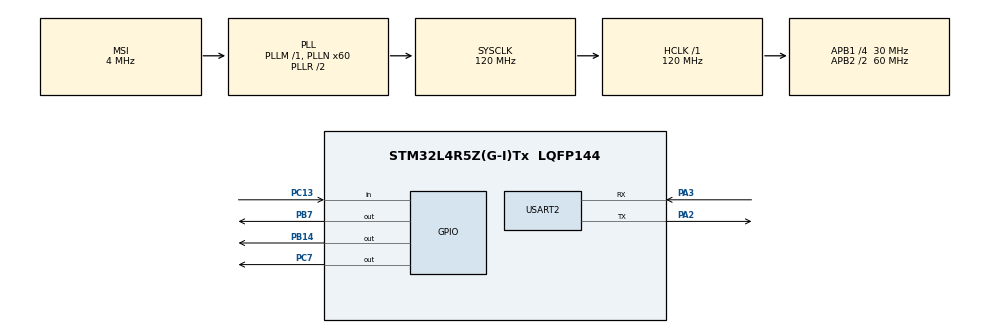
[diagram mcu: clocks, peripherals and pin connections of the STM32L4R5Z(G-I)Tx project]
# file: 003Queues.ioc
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Mcu.Family=STM32L4
Mcu.Name=STM32L4R5Z(G-I)Tx
Mcu.Package=LQFP144
NVIC.PriorityGroup=NVIC_PRIORITYGROUP_4
NVIC.TIM6_DAC_IRQn=true\:15\:0\:false\:false\:true\:false\:true
NVIC.TimeBase=TIM6_DAC_IRQn
NVIC.TimeBaseIP=TIM6
NVIC.USART2_IRQn=true\:0\:0\:false\:false\:true\:true\:true
PA2.Mode=Asynchronous
PA2.Signal=USART2_TX
PA3.Mode=Asynchronous
PA3.Signal=USART2_RX
PB14.Signal=GPIO_Output
PB7.Signal=GPIO_Output
PC13.Signal=GPIO_Input
PC7.Signal=GPIO_Output
ProjectManager.HeapSize=0x200
ProjectManager.StackSize=0x400
ProjectManager.TargetToolchain=STM32CubeIDE
RCC.ADCFreq_Value=16000000
RCC.AHBFreq_Value=120000000
RCC.APB1CLKDivider=RCC_HCLK_DIV4
RCC.APB1Freq_Value=30000000
RCC.APB1TimFreq_Value=60000000
RCC.APB2CLKDivider=RCC_HCLK_DIV2
RCC.APB2Freq_Value=60000000
RCC.APB2TimFreq_Value=120000000
RCC.CortexFreq_Value=120000000
RCC.HCLKFreq_Value=120000000
RCC.HSE_VALUE=8000000
RCC.HSI48_VALUE=48000000
RCC.HSI_VALUE=16000000
RCC.LSE_VALUE=32768
RCC.MSI_VALUE=4000000
RCC.PLLN=60
RCC.SYSCLKFreq_VALUE=120000000
RCC.SYSCLKSource=RCC_SYSCLKSOURCE_PLLCLK
RCC.USBFreq_Value=16000000
RCC.VCOOutputFreq_Value=240000000
USART2.VirtualMode-Asynchronous=VM_ASYNC
VP_RTC_VS_RTC_Activate.Mode=RTC_Enabled
VP_SYS_VS_tim6.Mode=TIM6
board=custom

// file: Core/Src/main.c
/* USER CODE BEGIN Header */
/**
  ******************************************************************************
  * @file           : main.c
  * @brief          : Main program body
  ******************************************************************************
  * @attention
  *
  * Copyright (c) 2022 STMicroelectronics.
  * All rights reserved.
  *
  * This software is licensed under terms that can be found in the LICENSE file
  * in the root directory of this software component.
  * If no LICENSE file comes with this software, it is provided AS-IS.
  *
  ******************************************************************************
  */
/* USER CODE END Header */
#include "main.h"

/* USER CODE BEGIN Includes */
#include <stdio.h>

#include "FreeRTOS.h"
#include "task.h"
#include "SEGGER_SYSVIEW.h"
#include "task_handler.h"

/* USER CODE END Includes */

RTC_HandleTypeDef hrtc;

UART_HandleTypeDef huart2;

/* USER CODE BEGIN PV */
#define DWT_CTRL (*(volatile uint32_t*) 0xE0001000)
/* USER CODE END PV */

void SystemClock_Config(void);
static void MX_GPIO_Init(void);
static void MX_RTC_Init(void);
static void MX_USART2_UART_Init(void);
/* USER CODE BEGIN PFP */

TaskHandle_t handle_led_task;
TaskHandle_t handle_menu_task;
TaskHandle_t handle_cmd_task;
TaskHandle_t handle_print_task;
TaskHandle_t handle_rtc_task;

QueueHandle_t queue_data;
QueueHandle_t queue_print;

volatile uint8_t user_data;
state_t current_state = sMainMenu;

/* USER CODE END PFP */

int main(void)
{
  /* USER CODE BEGIN 1 */

	  BaseType_t status;

  /* USER CODE END 1 */

  /* MCU Configuration--------------------------------------------------------*/

  /* Reset of all peripherals, Initializes the Flash interface and the Systick. */
  HAL_Init();

  /* Configure the system clock */
  SystemClock_Config();

  /* Initialize all configured peripherals */
  MX_GPIO_Init();
  MX_RTC_Init();
  MX_USART2_UART_Init();
  /* USER CODE BEGIN 2 */
  DWT_CTRL |= (1 << 0);

  SEGGER_SYSVIEW_Conf();
  SEGGER_SYSVIEW_Start();
//  SEGGER_UART_Init(500000);

  status = xTaskCreate(task_handler_led, "Task-LED", 200, NULL,
              2, &handle_led_task);
  configASSERT(status == pdPASS);

  status = xTaskCreate(task_handler_menu, "Task-MENU", 200, NULL,
              2, &handle_menu_task);
  configASSERT(status == pdPASS);

  status = xTaskCreate(task_handler_cmd, "Task-CMD", 200, NULL,
              2, &handle_cmd_task);
  configASSERT(status == pdPASS);

  status = xTaskCreate(task_handler_print, "Task-PRINT", 200, NULL,
              2, &handle_print_task);
  configASSERT(status == pdPASS);

  status = xTaskCreate(task_handler_rtc, "Task-RTC", 200, NULL,
              2, &handle_rtc_task);
  configASSERT(status == pdPASS);

	/*
	Create FreeRTOS queues
	*/
	queue_data = xQueueCreate(10, sizeof(char));
	configASSERT(queue_data != NULL);

	queue_print = xQueueCreate(10, sizeof(size_t)); // Will only store pointers to strings
	configASSERT(queue_print != NULL);

	HAL_UART_Receive_IT(&huart2, (uint8_t*)&user_data, 1); // enable receiving UART interrupts

  vTaskStartScheduler();
  /* USER CODE END 2 */

  /* Infinite loop */
  while (1)
  {

  }
}

void SystemClock_Config(void)
{
  RCC_OscInitTypeDef RCC_OscInitStruct = {0};
  RCC_ClkInitTypeDef RCC_ClkInitStruct = {0};

  /** Configure the main internal regulator output voltage
  */
  if (HAL_PWREx_ControlVoltageScaling(PWR_REGULATOR_VOLTAGE_SCALE1_BOOST) != HAL_OK)
  {
    Error_Handler();
  }
  /** Initializes the RCC Oscillators according to the specified parameters
  * in the RCC_OscInitTypeDef structure.
  */
  RCC_OscInitStruct.OscillatorType = RCC_OSCILLATORTYPE_LSI|RCC_OSCILLATORTYPE_MSI;
  RCC_OscInitStruct.LSIState = RCC_LSI_ON;
  RCC_OscInitStruct.MSIState = RCC_MSI_ON;
  RCC_OscInitStruct.MSICalibrationValue = 0;
  RCC_OscInitStruct.MSIClockRange = RCC_MSIRANGE_6;
  RCC_OscInitStruct.PLL.PLLState = RCC_PLL_ON;
  RCC_OscInitStruct.PLL.PLLSource = RCC_PLLSOURCE_MSI;
  RCC_OscInitStruct.PLL.PLLM = 1;
  RCC_OscInitStruct.PLL.PLLN = 60;
  RCC_OscInitStruct.PLL.PLLP = RCC_PLLP_DIV2;
  RCC_OscInitStruct.PLL.PLLQ = RCC_PLLQ_DIV2;
  RCC_OscInitStruct.PLL.PLLR = RCC_PLLR_DIV2;
  if (HAL_RCC_OscConfig(&RCC_OscInitStruct) != HAL_OK)
  {
    Error_Handler();
  }
  /** Initializes the CPU, AHB and APB buses clocks
  */
  RCC_ClkInitStruct.ClockType = RCC_CLOCKTYPE_HCLK|RCC_CLOCKTYPE_SYSCLK
                              |RCC_CLOCKTYPE_PCLK1|RCC_CLOCKTYPE_PCLK2;
  RCC_ClkInitStruct.SYSCLKSource = RCC_SYSCLKSOURCE_PLLCLK;
  RCC_ClkInitStruct.AHBCLKDivider = RCC_SYSCLK_DIV1;
  RCC_ClkInitStruct.APB1CLKDivider = RCC_HCLK_DIV4;
  RCC_ClkInitStruct.APB2CLKDivider = RCC_HCLK_DIV2;

  if (HAL_RCC_ClockConfig(&RCC_ClkInitStruct, FLASH_LATENCY_5) != HAL_OK)
  {
    Error_Handler();
  }
}

static void MX_RTC_Init(void)
{

  /** Initialize RTC Only
  */
  hrtc.Instance = RTC;
  hrtc.Init.HourFormat = RTC_HOURFORMAT_24;
  hrtc.Init.AsynchPrediv = 127;
  hrtc.Init.SynchPrediv = 255;
  hrtc.Init.OutPut = RTC_OUTPUT_DISABLE;
  hrtc.Init.OutPutRemap = RTC_OUTPUT_REMAP_NONE;
  hrtc.Init.OutPutPolarity = RTC_OUTPUT_POLARITY_HIGH;
  hrtc.Init.OutPutType = RTC_OUTPUT_TYPE_OPENDRAIN;
  if (HAL_RTC_Init(&hrtc) != HAL_OK)
  {
    Error_Handler();
  }

}

static void MX_USART2_UART_Init(void)
{

  huart2.Instance = USART2;
  huart2.Init.BaudRate = 115200;
  huart2.Init.WordLength = UART_WORDLENGTH_8B;
  huart2.Init.StopBits = UART_STOPBITS_1;
  huart2.Init.Parity = UART_PARITY_NONE;
  huart2.Init.Mode = UART_MODE_TX_RX;
  huart2.Init.HwFlowCtl = UART_HWCONTROL_NONE;
  huart2.Init.OverSampling = UART_OVERSAMPLING_16;
  huart2.Init.OneBitSampling = UART_ONE_BIT_SAMPLE_DISABLE;
  huart2.Init.ClockPrescaler = UART_PRESCALER_DIV1;
  huart2.AdvancedInit.AdvFeatureInit = UART_ADVFEATURE_NO_INIT;
  if (HAL_UART_Init(&huart2) != HAL_OK)
  {
    Error_Handler();
  }
  if (HAL_UARTEx_SetTxFifoThreshold(&huart2, UART_TXFIFO_THRESHOLD_1_8) != HAL_OK)
  {
    Error_Handler();
  }
  if (HAL_UARTEx_SetRxFifoThreshold(&huart2, UART_RXFIFO_THRESHOLD_1_8) != HAL_OK)
  {
    Error_Handler();
  }
  if (HAL_UARTEx_DisableFifoMode(&huart2) != HAL_OK)
  {
    Error_Handler();
  }

}

static void MX_GPIO_Init(void)
{
  GPIO_InitTypeDef GPIO_InitStruct = {0};

  /* GPIO Ports Clock Enable */
  __HAL_RCC_GPIOC_CLK_ENABLE();
  __HAL_RCC_GPIOA_CLK_ENABLE();
  __HAL_RCC_GPIOB_CLK_ENABLE();

  /*Configure GPIO pin Output Level */
  HAL_GPIO_WritePin(GPIOB, GPIO_PIN_14|GPIO_PIN_7, GPIO_PIN_RESET);

  /*Configure GPIO pin Output Level */
  HAL_GPIO_WritePin(GPIOC, GPIO_PIN_7, GPIO_PIN_RESET);

  /*Configure GPIO pin : PC13 */
  GPIO_InitStruct.Pin = GPIO_PIN_13;
  GPIO_InitStruct.Mode = GPIO_MODE_INPUT;
  GPIO_InitStruct.Pull = GPIO_NOPULL;
  HAL_GPIO_Init(GPIOC, &GPIO_InitStruct);

  /*Configure GPIO pins : PB14 PB7 */
  GPIO_InitStruct.Pin = GPIO_PIN_14|GPIO_PIN_7;
  GPIO_InitStruct.Mode = GPIO_MODE_OUTPUT_PP;
  GPIO_InitStruct.Pull = GPIO_NOPULL;
  GPIO_InitStruct.Speed = GPIO_SPEED_FREQ_LOW;
  HAL_GPIO_Init(GPIOB, &GPIO_InitStruct);

  /*Configure GPIO pin : PC7 */
  GPIO_InitStruct.Pin = GPIO_PIN_7;
  GPIO_InitStruct.Mode = GPIO_MODE_OUTPUT_PP;
  GPIO_InitStruct.Pull = GPIO_NOPULL;
  GPIO_InitStruct.Speed = GPIO_SPEED_FREQ_LOW;
  HAL_GPIO_Init(GPIOC, &GPIO_InitStruct);

}

/* USER CODE BEGIN 4 */
void HAL_UART_RxCpltCallback(UART_HandleTypeDef *huart)
{
	if(pdFALSE == xQueueIsQueueFullFromISR(queue_data))
	{
		xQueueSendToBackFromISR(queue_data, (void*) &user_data, NULL);
	}
	else
	{
		if ('\n' == user_data)
		{
			// make sure the last element in the queue is '\n'
			xQueueOverwriteFromISR(queue_data, (void*)&user_data, NULL);
		}
	}

	if('\n' == user_data)
	{
		xTaskNotifyFromISR(handle_cmd_task, 0, eNoAction, NULL);
	}

	HAL_UART_Receive_IT(&huart2, (uint8_t*)&user_data, 1); // enable receiving UART interrupts
}

/* USER CODE END 4 */

void HAL_TIM_PeriodElapsedCallback(TIM_HandleTypeDef *htim)
{
  if (htim->Instance == TIM6) {
    HAL_IncTick();
  }
}

void Error_Handler(void)
{
  __disable_irq();
  while (1)
  {
  }
}
